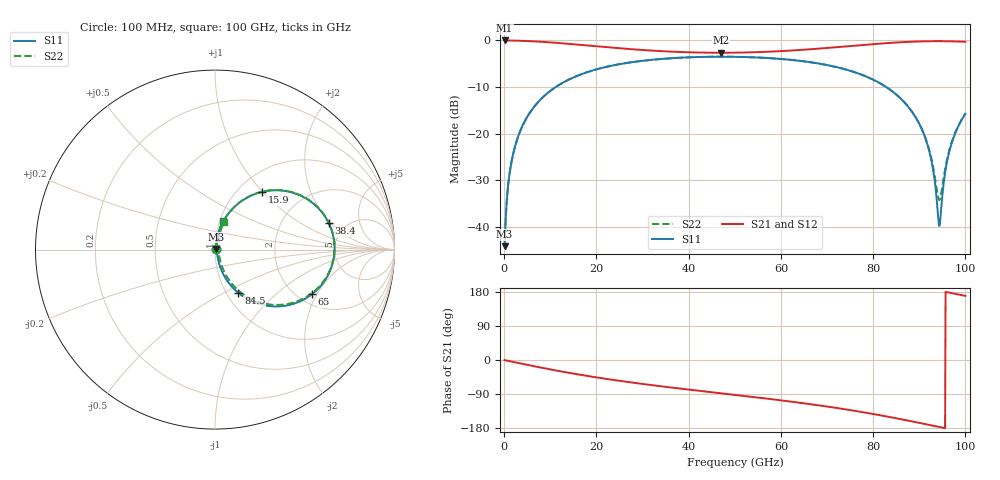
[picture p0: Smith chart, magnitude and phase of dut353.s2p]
! Touchstone file exported from HFSS 2026.1.0
!  File:  C:/ffzhzh/LocalFiles/Ansys_Project_Files/temp_train_RDL_353_1783503265_41296.aedt
!  Generated:  05:36:04 PM Jul  8, 2026
!  Design:  RDL
!  Project:  temp_train_RDL_353_1783503265_41296
! Variables:
!  h_bsmrdl = 2um
!  h_ox = 20um
!  h_rdl = 5um
!  h_sub = 80um
!  h_tmrdl = 2.39um
!  h_tsv = 80um
!  h_via = 3um
!  l_bsmrdl = 300um
!  l_sub = 1014.36um
!  l_tmrdl = 614.36um
!  m_sub = 200um
!  pitch = 53.99um
!  r_tsv = 6um
!  s_tmrdl = 10um
!  w_bsmrdl = 18um
!  w_sub = 500um
!  w_tmrdl = 17.83um
!  x_tsv_center1 = 623.275um
!  x_tsv_center2 = 941.275um
!  x_tsv_center3 = 1573.465um
!  x_tsv_center4 = 1891.465um
!  x_tsv_center5 = 2523.655um
!  x_tsv_center6 = 2841.655um
# GHz S MA R 50.000000
! Terminal data exported
! Port[1] = TM_RDL1_1_T1
! Port[2] = TM_RDL1_1_T2
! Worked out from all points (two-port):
!   1000 points, 100 MHz to 100 GHz, reference 50 ohm
!   highest |S21| = -0.05 dB at 100 MHz (marker M1); lowest = -2.7 dB at 47 GHz (marker M2)
!   |S21| within 3 dB of the highest: start of sweep to end of sweep
!   lowest |S11| = -44.1 dB at 100 MHz (marker M3), VSWR 1.01, Z = 50.5 + j0.33 ohm
!   |S11| at or under -10 dB: start of sweep to 11.22 GHz; 82.79 GHz to end of sweep
!   |S22| runs from -44.1 to -3.5 dB; largest |S21 - S12| = 1.8e-14
!   S11 on the Smith chart (normalised r, x): 100 MHz: 1.01, +0.01; 15.9 GHz: 1.28, +1.00; 38.4 GHz: 3.70, +1.89; 65 GHz: 2.36, -1.82; 84.5 GHz: 1.14, -0.59; 100 GHz: 1.03, +0.33
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0.1  0.006223 31.7  0.9947 -0.3  0.9947 -0.3  0.006223 31.7
! Gamma 0 0 0 0
! Port Impedance 50 0 50 0
0.9  0.02905 75.3  0.9934 -2.4  0.9934 -2.4  0.02904 75.3
1.5  0.04705 78.1  0.9923 -3.9  0.9923 -3.9  0.04705 78.1
4  0.1218 76.3  0.9853 -10.2  0.9853 -10.2  0.1218 76.4
8.7  0.2533 66.2  0.9585 -21.7  0.9585 -21.7  0.2533 66.3
15.9  0.4168 50.6  0.8978 -37.8  0.8978 -37.8  0.4167 50.8
16.8  0.4336 48.8  0.8897 -39.6  0.8897 -39.6  0.4336 49.0
33.4  0.6264 20.4  0.7675 -68.4  0.7675 -68.4  0.6264 20.8
38.4  0.6508 13.1  0.7476 -75.8  0.7476 -75.8  0.6507 13.6
47  0.6664 1.2  0.7343 -87.9  0.7343 -87.9  0.6663 1.8
50.1  0.6645 -3.0  0.7361 -92.2  0.7361 -92.2  0.6644 -2.4
65  0.5944 -24.8  0.7916 -114.3  0.7916 -114.3  0.5943 -23.8
66.7  0.5787 -27.5  0.8027 -117.1  0.8027 -117.1  0.5786 -26.5
83.4  0.3018 -59.3  0.9349 -150.0  0.9349 -150.0  0.3019 -57.1
84.5  0.2748 -61.6  0.9426 -152.6  0.9426 -152.6  0.275 -59.3
88.5  0.1692 -69.8  0.9651 -162.2  0.9651 -162.2  0.1698 -66.2
91.2  0.09278 -73.6  0.9741 -168.9  0.9741 -168.9  0.09399 -67.4
92.8  0.04669 -71.3  0.9768 -172.9  0.9768 -172.9  0.0493 -60.1
94.3  0.01027 -5.9  0.9774 -176.6  0.9774 -176.6  0.01945 -0.6
94.7  0.01445 46.7  0.9772 -177.7  0.9772 -177.7  0.02207 30.5
96.6  0.06667 77.9  0.9746 177.6  0.9746 177.6  0.06891 71.0
100  0.1629 74.8  0.9628 169.2  0.9628 169.2  0.164 72.3
